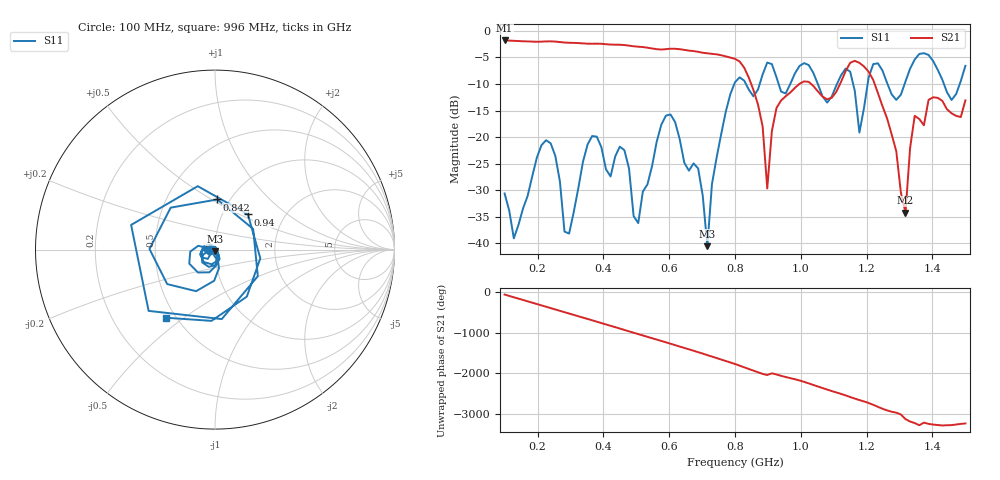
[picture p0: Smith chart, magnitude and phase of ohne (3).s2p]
! NanoVNA-App
! Date: 2025-09-25 14:20:49
! Start: 100MHz Stop: 1,5GHz Points: 101
! S-Parameter data: F S11 S21 S12 S22
# Hz S RI R 50
!  Frequency  S11_Real  S11_Imag  S21_Real  S21_Imag  S12_Real  S12_Imag  S22_Real  S22_Imag
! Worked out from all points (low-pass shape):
!   101 points, 100 MHz to 1.5 GHz, reference 50 ohm
!   highest |S21| = -1.79 dB at 100 MHz (marker M1); lowest = -34.3 dB at 1.318 GHz (marker M2)
!   |S21| within 3 dB of the highest: start of sweep to 771.5 MHz
!   lowest |S11| = -40.6 dB at 716 MHz (marker M3), VSWR 1.02, Z = 49.8 - j0.921 ohm
!   |S11| at or under -10 dB: start of sweep to 797.9 MHz; 833.2 MHz to 875.1 MHz (41.89 MHz wide, 4.9 % of centre); 1.052 GHz to 1.11 GHz (58.21 MHz wide, 5.39 % of centre) (the widest 3 of 7)
!   S12 and S22 are empty: the file has one direction only
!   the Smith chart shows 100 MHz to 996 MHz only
!   S11 on the Smith chart (normalised r, x): 100 MHz: 0.94, -0.01; 842 MHz: 0.88, +0.53; 940 MHz: 1.32, +0.56; 996 MHz: 0.44, -0.43
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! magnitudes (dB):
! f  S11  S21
! 100 MHz  -30.6  -1.8
! 128 MHz  -39.1  -1.9
! 226 MHz  -20.6  -2.0
! 296 MHz  -38.2  -2.2
! 338 MHz  -24.7  -2.3
! 464 MHz  -22.5  -2.7
! 506 MHz  -36.2  -3.0
! 576 MHz  -17.7  -3.5
! 688 MHz  -25.9  -3.9
! 716 MHz  -40.6  -4.2
! 800 MHz  -9.7  -5.3
! 842 MHz  -11.1  -8.8
! 898 MHz  -6.0  -29.7
! 940 MHz  -11.4  -13.1
! 996 MHz  -6.6  -10.0
! 1.038 GHz  -7.9  -10.4
! 1.178 GHz  -19.2  -6.0
! 1.22 GHz  -6.3  -9.2
! 1.276 GHz  -12.0  -19.5
! 1.318 GHz  -9.5  -34.3
! 1.346 GHz  -5.4  -16.0
! 1.5 GHz  -6.6  -13.1
